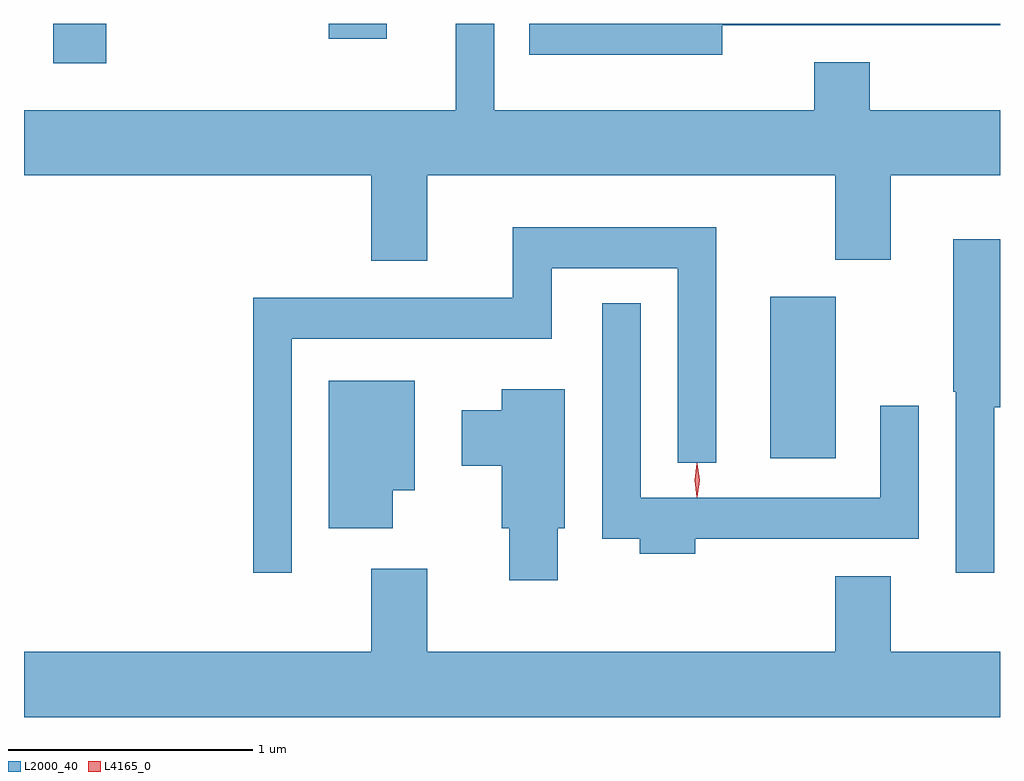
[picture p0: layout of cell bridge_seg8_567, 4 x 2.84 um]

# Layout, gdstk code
import gdstk
lib = gdstk.Library(unit=1e-6, precision=1e-09)
def R(c, l, rs):  # rectangles x0, y0, x1, y1
    for r in rs: c.add(gdstk.rectangle(r[:2], r[2:], *l))
def P(c, l, *ps):  # polygons
    for p in ps: c.add(gdstk.Polygon(p, *l))
L2000_40 = (2000, 40)
L4165_0 = (4165, 0)

bridge_seg8_567 = lib.new_cell('bridge_seg8_567')
R(bridge_seg8_567, L2000_40, [(613.006,1819.716,613.274,1820.379), (610.066,1821.336,610.284,1821.497), (611.196,1821.436,611.434,1821.497)])
P(bridge_seg8_567, L2000_40, [(609.947,1820.876),(611.371,1820.876),(611.371,1820.526),(611.599,1820.526),(611.599,1820.876),(613.271,1820.876),(613.271,1820.531),(613.499,1820.531),(613.499,1820.876),(613.947,1820.876),(613.947,1821.144),(613.414,1821.144),(613.414,1821.339),(613.186,1821.339),(613.186,1821.144),(611.874,1821.144),(611.874,1821.497),(611.716,1821.497),(611.716,1821.144),(609.947,1821.144)],
  [(612.809,1821.491),(613.947,1821.491),(613.947,1821.497),(612.018,1821.497),(612.018,1821.371),(612.809,1821.371)],
  [(611.044,1820.206),(612.109,1820.206),(612.109,1820.496),(612.626,1820.496),(612.626,1819.698),(612.784,1819.698),(612.784,1820.664),(611.951,1820.664),(611.951,1820.374),(610.886,1820.374),(610.886,1819.248),(611.044,1819.248)],
  [(613.924,1819.926),(613.947,1819.926),(613.947,1820.614),(613.756,1820.614),(613.756,1819.99),(613.766,1819.99),(613.766,1819.248),(613.924,1819.248)],
  [(612.699,1819.386),(613.614,1819.386),(613.614,1819.933),(613.456,1819.933),(613.456,1819.554),(612.474,1819.554),(612.474,1820.353),(612.316,1820.353),(612.316,1819.386),(612.471,1819.386),(612.471,1819.326),(612.699,1819.326)],
  [(611.459,1819.586),(611.549,1819.586),(611.549,1820.034),(611.196,1820.034),(611.196,1819.431),(611.459,1819.431)],
  [(612.134,1819.431),(612.164,1819.431),(612.164,1819.999),(611.906,1819.999),(611.906,1819.914),(611.741,1819.914),(611.741,1819.686),(611.906,1819.686),(611.906,1819.431),(611.936,1819.431),(611.936,1819.216),(612.134,1819.216)],
  [(613.947,1818.924),(613.499,1818.924),(613.499,1819.234),(613.271,1819.234),(613.271,1818.924),(611.599,1818.924),(611.599,1819.264),(611.371,1819.264),(611.371,1818.924),(609.947,1818.924),(609.947,1818.656),(613.947,1818.656)])
P(bridge_seg8_567, L4165_0, [(612.706,1819.557),(612.705,1819.558),(612.696,1819.627),(612.705,1819.696),(612.706,1819.696),(612.706,1819.696),(612.716,1819.627),(612.706,1819.558)],
  [(612.706,1819.559),(612.705,1819.56),(612.696,1819.626),(612.705,1819.692),(612.706,1819.693),(612.706,1819.692),(612.716,1819.626),(612.706,1819.56)])

lib.write_gds('bridge_seg8_567.gds')
